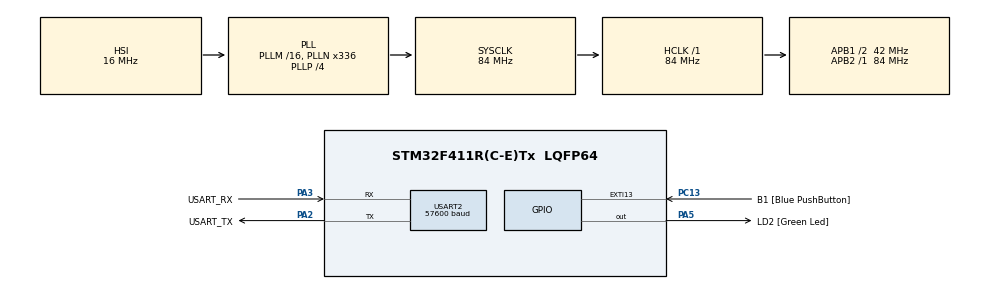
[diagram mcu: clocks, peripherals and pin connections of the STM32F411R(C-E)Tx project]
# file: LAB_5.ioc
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Dma.Request0=USART2_RX
Dma.Request1=USART2_TX
Dma.USART2_RX.0.Direction=DMA_PERIPH_TO_MEMORY
Dma.USART2_RX.0.FIFOMode=DMA_FIFOMODE_DISABLE
Dma.USART2_RX.0.Instance=DMA1_Stream5
Dma.USART2_RX.0.MemDataAlignment=DMA_MDATAALIGN_BYTE
Dma.USART2_RX.0.MemInc=DMA_MINC_ENABLE
Dma.USART2_RX.0.Mode=DMA_CIRCULAR
Dma.USART2_RX.0.PeriphDataAlignment=DMA_PDATAALIGN_BYTE
Dma.USART2_RX.0.PeriphInc=DMA_PINC_DISABLE
Dma.USART2_RX.0.Priority=DMA_PRIORITY_LOW
Dma.USART2_TX.1.Direction=DMA_MEMORY_TO_PERIPH
Dma.USART2_TX.1.FIFOMode=DMA_FIFOMODE_DISABLE
Dma.USART2_TX.1.Instance=DMA1_Stream6
Dma.USART2_TX.1.MemDataAlignment=DMA_MDATAALIGN_BYTE
Dma.USART2_TX.1.MemInc=DMA_MINC_ENABLE
Dma.USART2_TX.1.Mode=DMA_NORMAL
Dma.USART2_TX.1.PeriphDataAlignment=DMA_PDATAALIGN_BYTE
Dma.USART2_TX.1.PeriphInc=DMA_PINC_DISABLE
Dma.USART2_TX.1.Priority=DMA_PRIORITY_LOW
Mcu.Family=STM32F4
Mcu.Name=STM32F411R(C-E)Tx
Mcu.Package=LQFP64
NVIC.DMA1_Stream5_IRQn=true\:0\:0\:false\:false\:true\:false\:true\:true
NVIC.DMA1_Stream6_IRQn=true\:0\:0\:false\:false\:true\:false\:true\:true
NVIC.PriorityGroup=NVIC_PRIORITYGROUP_0
NVIC.USART2_IRQn=true\:0\:0\:false\:false\:true\:true\:true\:true
PA13.GPIO_Label=TMS
PA13.Mode=Serial_Wire
PA13.Signal=SYS_JTMS-SWDIO
PA14.GPIO_Label=TCK
PA14.Mode=Serial_Wire
PA14.Signal=SYS_JTCK-SWCLK
PA2.GPIO_Label=USART_TX
PA2.Mode=Asynchronous
PA2.Signal=USART2_TX
PA3.GPIO_Label=USART_RX
PA3.Mode=Asynchronous
PA3.Signal=USART2_RX
PA5.GPIO_Label=LD2 [Green Led]
PA5.Signal=GPIO_Output
PB3.GPIO_Label=SWO
PB3.Signal=SYS_JTDO-SWO
PC13-ANTI_TAMP.GPIO_Label=B1 [Blue PushButton]
PC13-ANTI_TAMP.GPIO_ModeDefaultEXTI=GPIO_MODE_IT_FALLING
PC13-ANTI_TAMP.Signal=GPXTI13
PC14-OSC32_IN.Mode=LSE-External-Oscillator
PC14-OSC32_IN.Signal=RCC_OSC32_IN
PC15-OSC32_OUT.Mode=LSE-External-Oscillator
PC15-OSC32_OUT.Signal=RCC_OSC32_OUT
PH0\ -\ OSC_IN.Mode=HSE-External-Clock-Source
PH0\ -\ OSC_IN.Signal=RCC_OSC_IN
PH1\ -\ OSC_OUT.Mode=HSE-External-Clock-Source
PH1\ -\ OSC_OUT.Signal=RCC_OSC_OUT
ProjectManager.HeapSize=0x200
ProjectManager.StackSize=0x400
ProjectManager.TargetToolchain=STM32CubeIDE
RCC.48MHZClocksFreq_Value=84000000
RCC.AHBFreq_Value=84000000
RCC.APB1CLKDivider=RCC_HCLK_DIV2
RCC.APB1Freq_Value=42000000
RCC.APB1TimFreq_Value=84000000
RCC.APB2Freq_Value=84000000
RCC.APB2TimFreq_Value=84000000
RCC.CortexFreq_Value=84000000
RCC.FLatency-AdvancedSettings=FLASH_LATENCY_2
RCC.HCLKFreq_Value=84000000
RCC.HSE_VALUE=8000000
RCC.HSI_VALUE=16000000
RCC.PLLN=336
RCC.PLLP=RCC_PLLP_DIV4
RCC.SYSCLKFreq_VALUE=84000000
RCC.SYSCLKSource=RCC_SYSCLKSOURCE_PLLCLK
RCC.VCOOutputFreq_Value=336000000
USART2.BaudRate=57600
USART2.VirtualMode=VM_ASYNC
board=NUCLEO-F411RE

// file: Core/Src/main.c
/* USER CODE BEGIN Header */
/**
  ******************************************************************************
  * @file           : main.c
  * @brief          : Main program body
  ******************************************************************************
  * @attention
  *
  * Copyright (c) 2023 STMicroelectronics.
  * All rights reserved.
  *
  * This software is licensed under terms that can be found in the LICENSE file
  * in the root directory of this software component.
  * If no LICENSE file comes with this software, it is provided AS-IS.
  *
  ******************************************************************************
  */
/* USER CODE END Header */
#include "main.h"

/* USER CODE BEGIN Includes */
#include "stdio.h"
#include "string.h"
#include <locale.h>
/* USER CODE END Includes */

UART_HandleTypeDef huart2;
DMA_HandleTypeDef hdma_usart2_rx;
DMA_HandleTypeDef hdma_usart2_tx;

/* USER CODE BEGIN PV */
uint8_t RxBuffer[20];
uint8_t TxBuffer[1000];

enum Status{decision, LED_Control, button_status, Speed_Up, Speed_Down, On_off, back, show_button_status};

enum Status status = decision;

HAL_StatusTypeDef HAL_status;

uint32_t LED_HZ = 1;

int8_t on_off = 1;
uint8_t state;
/* USER CODE END PV */

void SystemClock_Config(void);
static void MX_GPIO_Init(void);
static void MX_DMA_Init(void);
static void MX_USART2_UART_Init(void);

int main(void)
{

  /* MCU Configuration--------------------------------------------------------*/

  /* Reset of all peripherals, Initializes the Flash interface and the Systick. */
  HAL_Init();

  /* Configure the system clock */
  SystemClock_Config();

  /* Initialize all configured peripherals */
  MX_GPIO_Init();
  MX_DMA_Init();
  MX_USART2_UART_Init();

  /* Infinite loop */
  /* USER CODE BEGIN WHILE */

  sprintf((char*)TxBuffer,"Choose which of this topics\r\n-----------------\r\n 0: LED Control\r\n 1: Button Status\r\n-------------------\r\n\r\n\r\n\r\n\r\n");
  HAL_UART_Transmit_DMA(&huart2, TxBuffer, strlen((char*)TxBuffer));

  UARTDMAConfig();
  while (1)
  {

	  main_state_machine();
	  DummyTask();
    /* USER CODE END WHILE */

  }
}

void SystemClock_Config(void)
{
  RCC_OscInitTypeDef RCC_OscInitStruct = {0};
  RCC_ClkInitTypeDef RCC_ClkInitStruct = {0};

  /** Configure the main internal regulator output voltage
  */
  __HAL_RCC_PWR_CLK_ENABLE();
  __HAL_PWR_VOLTAGESCALING_CONFIG(PWR_REGULATOR_VOLTAGE_SCALE1);

  /** Initializes the RCC Oscillators according to the specified parameters
  * in the RCC_OscInitTypeDef structure.
  */
  RCC_OscInitStruct.OscillatorType = RCC_OSCILLATORTYPE_HSI;
  RCC_OscInitStruct.HSIState = RCC_HSI_ON;
  RCC_OscInitStruct.HSICalibrationValue = RCC_HSICALIBRATION_DEFAULT;
  RCC_OscInitStruct.PLL.PLLState = RCC_PLL_ON;
  RCC_OscInitStruct.PLL.PLLSource = RCC_PLLSOURCE_HSI;
  RCC_OscInitStruct.PLL.PLLM = 16;
  RCC_OscInitStruct.PLL.PLLN = 336;
  RCC_OscInitStruct.PLL.PLLP = RCC_PLLP_DIV4;
  RCC_OscInitStruct.PLL.PLLQ = 4;
  if (HAL_RCC_OscConfig(&RCC_OscInitStruct) != HAL_OK)
  {
    Error_Handler();
  }

  /** Initializes the CPU, AHB and APB buses clocks
  */
  RCC_ClkInitStruct.ClockType = RCC_CLOCKTYPE_HCLK|RCC_CLOCKTYPE_SYSCLK
                              |RCC_CLOCKTYPE_PCLK1|RCC_CLOCKTYPE_PCLK2;
  RCC_ClkInitStruct.SYSCLKSource = RCC_SYSCLKSOURCE_PLLCLK;
  RCC_ClkInitStruct.AHBCLKDivider = RCC_SYSCLK_DIV1;
  RCC_ClkInitStruct.APB1CLKDivider = RCC_HCLK_DIV2;
  RCC_ClkInitStruct.APB2CLKDivider = RCC_HCLK_DIV1;

  if (HAL_RCC_ClockConfig(&RCC_ClkInitStruct, FLASH_LATENCY_2) != HAL_OK)
  {
    Error_Handler();
  }
}

static void MX_USART2_UART_Init(void)
{

  huart2.Instance = USART2;
  huart2.Init.BaudRate = 57600;
  huart2.Init.WordLength = UART_WORDLENGTH_8B;
  huart2.Init.StopBits = UART_STOPBITS_1;
  huart2.Init.Parity = UART_PARITY_NONE;
  huart2.Init.Mode = UART_MODE_TX_RX;
  huart2.Init.HwFlowCtl = UART_HWCONTROL_NONE;
  huart2.Init.OverSampling = UART_OVERSAMPLING_16;
  if (HAL_UART_Init(&huart2) != HAL_OK)
  {
    Error_Handler();
  }

}

static void MX_DMA_Init(void)
{

  /* DMA controller clock enable */
  __HAL_RCC_DMA1_CLK_ENABLE();

  /* DMA interrupt init */
  /* DMA1_Stream5_IRQn interrupt configuration */
  HAL_NVIC_SetPriority(DMA1_Stream5_IRQn, 0, 0);
  HAL_NVIC_EnableIRQ(DMA1_Stream5_IRQn);
  /* DMA1_Stream6_IRQn interrupt configuration */
  HAL_NVIC_SetPriority(DMA1_Stream6_IRQn, 0, 0);
  HAL_NVIC_EnableIRQ(DMA1_Stream6_IRQn);

}

static void MX_GPIO_Init(void)
{
  GPIO_InitTypeDef GPIO_InitStruct = {0};

  /* GPIO Ports Clock Enable */
  __HAL_RCC_GPIOC_CLK_ENABLE();
  __HAL_RCC_GPIOH_CLK_ENABLE();
  __HAL_RCC_GPIOA_CLK_ENABLE();
  __HAL_RCC_GPIOB_CLK_ENABLE();

  /*Configure GPIO pin Output Level */
  HAL_GPIO_WritePin(LD2_GPIO_Port, LD2_Pin, GPIO_PIN_RESET);

  /*Configure GPIO pin : B1_Pin */
  GPIO_InitStruct.Pin = B1_Pin;
  GPIO_InitStruct.Mode = GPIO_MODE_IT_FALLING;
  GPIO_InitStruct.Pull = GPIO_NOPULL;
  HAL_GPIO_Init(B1_GPIO_Port, &GPIO_InitStruct);

  /*Configure GPIO pin : LD2_Pin */
  GPIO_InitStruct.Pin = LD2_Pin;
  GPIO_InitStruct.Mode = GPIO_MODE_OUTPUT_PP;
  GPIO_InitStruct.Pull = GPIO_NOPULL;
  GPIO_InitStruct.Speed = GPIO_SPEED_FREQ_LOW;
  HAL_GPIO_Init(LD2_GPIO_Port, &GPIO_InitStruct);

}

/* USER CODE BEGIN 4 */
void UARTDMAConfig(){
	HAL_UART_Receive_DMA(&huart2, RxBuffer, 1);
}

void DummyTask()
{
	uint32_t sec;
	sec = 1000 / (2 * LED_HZ);
	static uint32_t timestamp = 0;
	if(on_off == 1){
		if(HAL_GetTick()>=timestamp)
			{
				timestamp = HAL_GetTick() + sec;
				HAL_GPIO_TogglePin(LD2_GPIO_Port, LD2_Pin);
			}
	}else if(on_off == 0){
		HAL_GPIO_WritePin(GPIOC, GPIO_PIN_13, 0);
	}

}

void HAL_UART_RxCpltCallback(UART_HandleTypeDef *huart)
{
	if(huart == &huart2)
	{
		RxBuffer[2] = '\0';
		main_state_machine();
//		HAL_UART_Transmit_IT(&huart2, TxBuffer, strlen((char*)TxBuffer));

//		HAL_UART_Receive_IT(&huart2, RxBuffer, 1);
	}
}
// decision, LED_Control, button_status, Speed_Up, Speed_Down, On_off, back, show_button_status
void main_state_machine(){
	switch (status){
		case decision:
			if(RxBuffer[0] == '0'){
				status = LED_Control;
				sprintf((char*)TxBuffer,"LED_CONTROL MODE \r\n----------------\r\n a: Gain more Hz \r\n s: Reduce Hz \r\n d: ON/OFF button \r\n x: Back to menu \r\n----------------\r\n");
				HAL_UART_Transmit_DMA(&huart2, TxBuffer, strlen((char*)TxBuffer));
				RxBuffer[0] = '\000';
			}else if(RxBuffer[0] == '1'){
				status = button_status;
				sprintf((char*)TxBuffer,"BUTTON_STATUS MODE \r\n----------------\r\n PRESS BLUE BUTTON: PRESS \r\n LEFT BLUE BUTTON: UNPRESS \r\n x: Back to menu \r\n----------------\r\n");
				HAL_UART_Transmit_DMA(&huart2, TxBuffer, strlen((char*)TxBuffer));
				RxBuffer[0] = '\000';
			}else if(RxBuffer[0] != '0' && RxBuffer[0] != '1' && RxBuffer[0] != '\000' && RxBuffer[0] != '\0'){
				RxBuffer[0] = '\000';
				sprintf((char*)TxBuffer,"Please choose other button \r\n");
				HAL_UART_Transmit_DMA(&huart2, TxBuffer, strlen((char*)TxBuffer));
			}
			break;

		case LED_Control:
			if(RxBuffer[0] == 'a'){
				LED_HZ += 1;
				sprintf((char*)TxBuffer,"Gain more HZ %d\r\n", LED_HZ);
				HAL_UART_Transmit_DMA(&huart2, TxBuffer, strlen((char*)TxBuffer));
				RxBuffer[0] = '\000';
			}else if(RxBuffer[0] == 's'){
				LED_HZ -= 1;
				sprintf((char*)TxBuffer,"Reduce HZ %d\r\n", LED_HZ);
				HAL_UART_Transmit_DMA(&huart2, TxBuffer, strlen((char*)TxBuffer));
				RxBuffer[0] = '\000';
				if(LED_HZ <= 1){
					LED_HZ = 1;
				}
			}else if(RxBuffer[0] == 'd'){
				if(on_off == 0){
					on_off = 1;
					sprintf((char*)TxBuffer,"LIGHT ON\r\n");
					HAL_UART_Transmit_DMA(&huart2, TxBuffer, strlen((char*)TxBuffer));
				}else if(on_off == 1){
					on_off = 0;
					sprintf((char*)TxBuffer,"LIGHT OFF\r\n");
					HAL_UART_Transmit_DMA(&huart2, TxBuffer, strlen((char*)TxBuffer));
				}
				RxBuffer[0] = '\000';
			}else if(RxBuffer[0] == 'x'){
				sprintf((char*)TxBuffer,"\r\n\r\n\r\n\r\n\r\nChoose which of this topics\r\n-----------------\r\n 0: LED Control\r\n 1: Button Status\r\n-------------------");
				HAL_UART_Transmit_DMA(&huart2, TxBuffer, strlen((char*)TxBuffer));
				status = decision;
				RxBuffer[0] = '\000';
			}else if(RxBuffer[0] != 'a' && RxBuffer[0] != 's' && RxBuffer[0] != 'd' && RxBuffer[0] != 'x' && RxBuffer[0] != '\000' && RxBuffer[0] != '\0'){
				RxBuffer[0] = '\000';
				sprintf((char*)TxBuffer,"Please choose other button \r\n");
				HAL_UART_Transmit_DMA(&huart2, TxBuffer, strlen((char*)TxBuffer));
			}
			break;

		case button_status:
			state = HAL_GPIO_ReadPin(GPIOC, GPIO_PIN_13);
			static uint32_t timestamp2 = 0;
			if(HAL_GetTick()>=timestamp2)
			{
				timestamp2 = HAL_GetTick() + 1000;
				if(!state){
					sprintf((char*)TxBuffer,"Button Press \r\n");
					HAL_UART_Transmit_DMA(&huart2, TxBuffer, strlen((char*)TxBuffer));
				}
				else if(state){
					sprintf((char*)TxBuffer,"Button Unpress \r\n");
					HAL_UART_Transmit_DMA(&huart2, TxBuffer, strlen((char*)TxBuffer));
				}
			}
			if(RxBuffer[0] == 'x'){
				sprintf((char*)TxBuffer,"\r\n\r\n\r\n\r\n\r\nChoose which of this topics\r\n-----------------\r\n 0: LED Control\r\n 1: Button Status\r\n-------------------");
				HAL_UART_Transmit_DMA(&huart2, TxBuffer, strlen((char*)TxBuffer));
				status = decision;
				RxBuffer[0] = '\000';
			}else if(RxBuffer[0] != 'x' && RxBuffer[0] != '\000' && RxBuffer[0] != '\0'){
				sprintf((char*)TxBuffer,"Please choose other button \r\n");
				HAL_UART_Transmit_DMA(&huart2, TxBuffer, strlen((char*)TxBuffer));
				RxBuffer[0] = '\000';
			}
			break;

	}
}
/* USER CODE END 4 */

void Error_Handler(void)
{
  __disable_irq();
  while (1)
  {
  }
}
